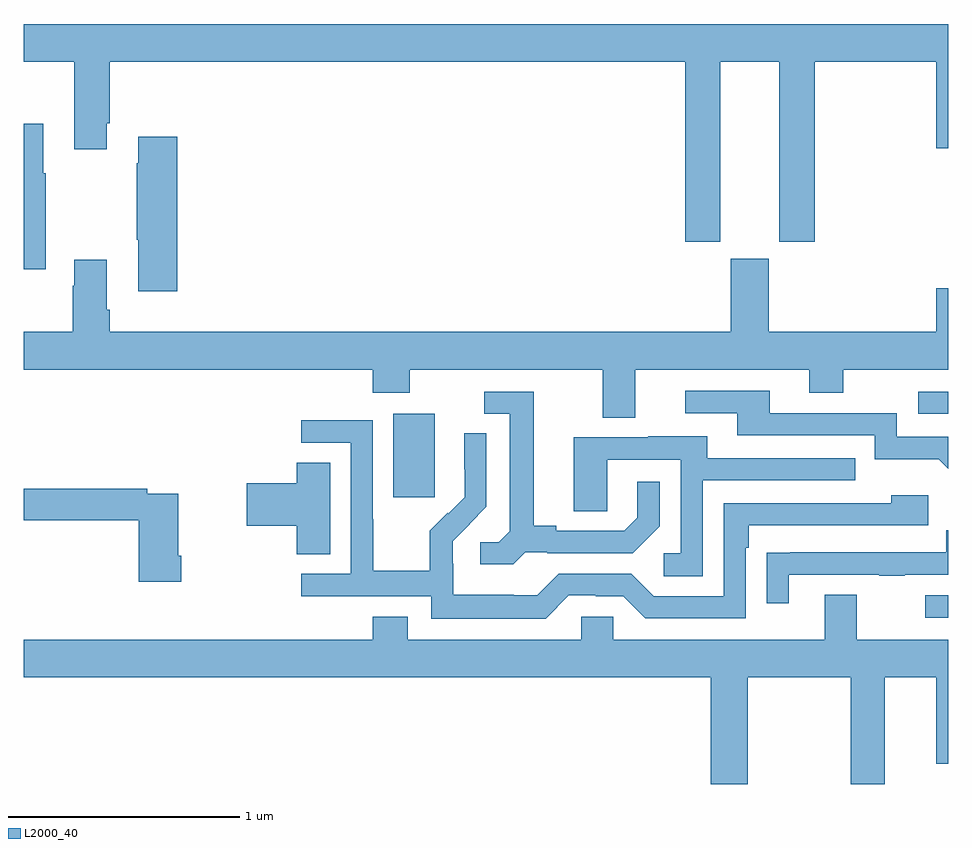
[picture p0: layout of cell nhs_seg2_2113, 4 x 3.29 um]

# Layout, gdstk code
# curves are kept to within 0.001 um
import gdstk
lib = gdstk.Library(unit=1e-6, precision=1e-09)
def R(c, l, rs):  # rectangles x0, y0, x1, y1
    for r in rs: c.add(gdstk.rectangle(r[:2], r[2:], *l))
def P(c, l, *ps):  # polygons
    for p in ps: c.add(gdstk.Polygon(p, *l))
L2000_40 = (2000, 40)

nhs_seg2_2113 = lib.new_cell('nhs_seg2_2113')
R(nhs_seg2_2113, L2000_40, [(224.901,642.567,225,642.663), (222.599,643.089,222.778,643.45), (224.871,643.449,225,643.545)])
P(nhs_seg2_2113, L2000_40, [(224.014,644.972),(224.27,644.972),(224.27,644.193),(224.423,644.193),(224.423,644.972),(224.948,644.972),(224.948,644.598),(225,644.598),(225,645.136),(221,645.136),(221,644.972),(221.219,644.972),(221.219,644.595),(221.359,644.595),(221.359,644.707),(221.372,644.707),(221.372,644.972),(223.862,644.972),(223.862,644.193),(224.014,644.193)],
  [(221.095,644.491),(221.083,644.491),(221.083,644.704),(221,644.704),(221,644.075),(221.095,644.075)],
  [(221.663,644.647),(221.495,644.647),(221.495,644.534),(221.488,644.534),(221.488,644.203),(221.495,644.203),(221.495,643.98),(221.663,643.98)],
  [(223.645,643.64),(224.399,643.64),(224.399,643.541),(224.547,643.541),(224.547,643.64),(225,643.64),(225,643.993),(224.948,643.993),(224.948,643.804),(224.224,643.804),(224.224,644.121),(224.06,644.121),(224.06,643.804),(221.372,643.804),(221.372,643.9),(221.359,643.9),(221.359,644.116),(221.219,644.116),(221.219,644.003),(221.212,644.003),(221.212,643.804),(221,643.804),(221,643.64),(222.509,643.64),(222.509,643.541),(222.669,643.541),(222.669,643.64),(223.505,643.64),(223.505,643.432),(223.645,643.432)],
  [(225,643.35),(224.778,643.35),(224.778,643.452),(224.227,643.452),(224.227,643.548),(223.863,643.548),(223.863,643.452),(224.087,643.452),(224.087,643.356),(224.682,643.356),(224.682,643.253),(224.959,643.253),(225,643.212)],
  [(223.17,642.849),(223.264,642.849),(223.264,642.846),(223.636,642.846),(223.752,642.962),(223.752,643.156),(223.655,643.156),(223.655,642.999),(223.598,642.942),(223.303,642.942),(223.303,642.965),(223.207,642.965),(223.207,643.545),(222.993,643.545),(222.993,643.449),(223.103,643.449),(223.103,642.941),(223.056,642.894),(222.975,642.894),(222.975,642.797),(223.118,642.797)],
  [(223.359,642.663),(223.475,642.663),(223.475,642.66),(223.593,642.66),(223.689,642.564),(224.124,642.564),(224.124,642.869),(224.137,642.869),(224.137,642.966),(224.914,642.966),(224.914,643.096),(224.753,643.096),(224.753,643.062),(224.028,643.062),(224.028,642.66),(223.725,642.66),(223.629,642.756),(223.314,642.756),(223.221,642.663),(223.121,642.663),(223.121,642.667),(222.858,642.667),(222.858,642.801),(222.856,642.801),(222.856,642.898),(223.002,643.046),(223.002,643.364),(222.906,643.364),(222.906,643.21),(222.908,643.21),(222.908,643.088),(222.837,643.017),(222.834,643.02),(222.757,642.943),(222.757,642.769),(222.513,642.769),(222.513,642.992),(222.51,642.992),(222.51,643.422),(222.201,643.422),(222.201,643.323),(222.414,643.323),(222.414,642.756),(222.201,642.756),(222.201,642.66),(222.762,642.66),(222.762,642.563),(223.259,642.563)],
  [(223.938,643.161),(224.597,643.161),(224.597,643.257),(223.957,643.257),(223.957,643.351),(223.703,643.351),(223.703,643.347),(223.379,643.347),(223.379,643.027),(223.524,643.027),(223.524,643.251),(223.842,643.251),(223.842,642.846),(223.77,642.846),(223.77,642.745),(223.938,642.745)],
  [(222.325,643.238),(222.182,643.238),(222.182,643.148),(221.964,643.148),(221.964,642.965),(222.182,642.965),(222.182,642.841),(222.325,642.841)],
  [(221.681,642.835),(221.668,642.835),(221.668,643.104),(221.534,643.104),(221.534,643.124),(221,643.124),(221,642.988),(221.498,642.988),(221.498,642.723),(221.681,642.723)],
  [(224.311,642.753),(224.701,642.753),(224.701,642.748),(224.813,642.748),(224.813,642.753),(225,642.753),(225,642.946),(224.992,642.946),(224.992,642.849),(224.317,642.849),(224.317,642.848),(224.215,642.848),(224.215,642.63),(224.311,642.63)],
  [(224.133,642.308),(224.578,642.308),(224.578,641.847),(224.725,641.847),(224.725,642.308),(224.948,642.308),(224.948,641.934),(225,641.934),(225,642.472),(224.605,642.472),(224.605,642.667),(224.465,642.667),(224.465,642.472),(223.551,642.472),(223.551,642.57),(223.413,642.57),(223.413,642.472),(222.661,642.472),(222.661,642.571),(222.509,642.571),(222.509,642.472),(221,642.472),(221,642.308),(223.973,642.308),(223.973,641.847),(224.133,641.847)])

lib.write_gds('nhs_seg2_2113.gds')
